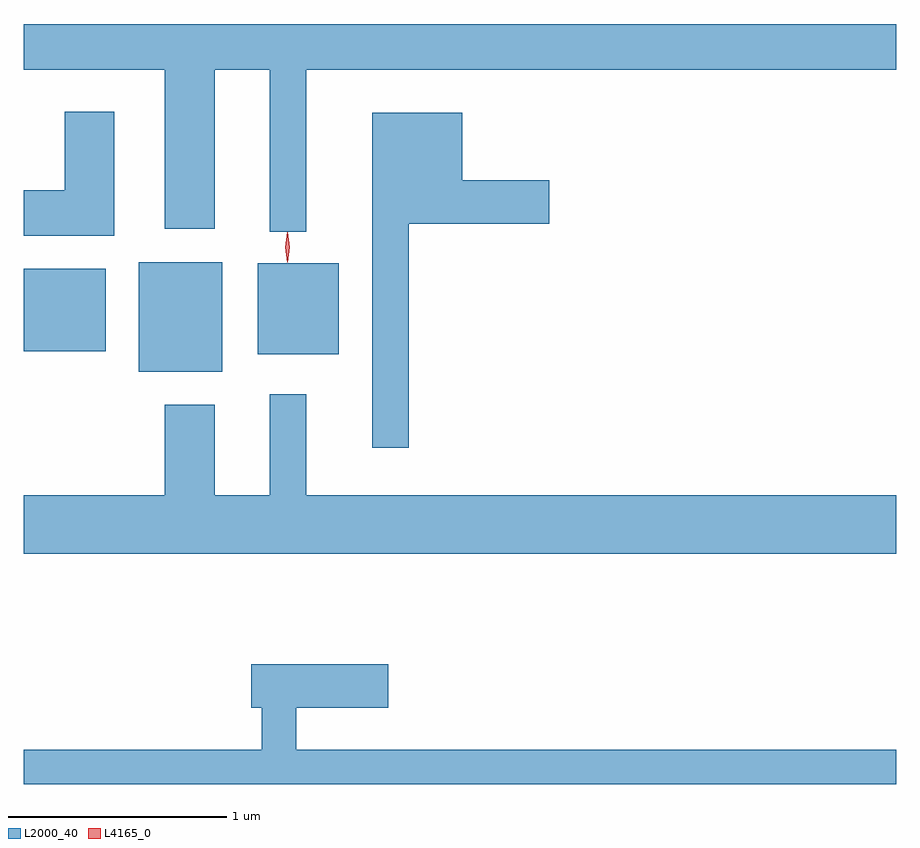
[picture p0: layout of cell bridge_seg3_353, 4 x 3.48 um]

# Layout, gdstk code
import gdstk
lib = gdstk.Library(unit=1e-6, precision=1e-09)
def R(c, l, rs):  # rectangles x0, y0, x1, y1
    for r in rs: c.add(gdstk.rectangle(r[:2], r[2:], *l))
def P(c, l, *ps):  # polygons
    for p in ps: c.add(gdstk.Polygon(p, *l))
L2000_40 = (2000, 40)
L4165_0 = (4165, 0)

bridge_seg3_353 = lib.new_cell('bridge_seg3_353')
R(bridge_seg3_353, L2000_40, [(666.151,1228.971,666.534,1229.474), (666.696,1229.051,667.069,1229.469), (665.624,1229.066,665.999,1229.444)])
P(bridge_seg3_353, L2000_40, [(666.919,1230.356),(669.624,1230.356),(669.624,1230.566),(665.624,1230.566),(665.624,1230.356),(666.271,1230.356),(666.271,1229.626),(666.499,1229.626),(666.499,1230.356),(666.751,1230.356),(666.751,1229.613),(666.919,1229.613)],
  [(666.039,1230.164),(665.811,1230.164),(665.811,1229.804),(665.624,1229.804),(665.624,1229.596),(666.039,1229.596)],
  [(667.389,1229.651),(668.034,1229.651),(668.034,1229.849),(667.634,1229.849),(667.634,1230.159),(667.221,1230.159),(667.221,1228.623),(667.389,1228.623)],
  [(669.624,1228.404),(666.919,1228.404),(666.919,1228.868),(666.751,1228.868),(666.751,1228.404),(666.499,1228.404),(666.499,1228.819),(666.271,1228.819),(666.271,1228.404),(665.624,1228.404),(665.624,1228.136),(669.624,1228.136)],
  [(669.624,1227.239),(666.874,1227.239),(666.874,1227.431),(667.294,1227.431),(667.294,1227.629),(666.666,1227.629),(666.666,1227.431),(666.716,1227.431),(666.716,1227.239),(665.624,1227.239),(665.624,1227.081),(669.624,1227.081)])
P(bridge_seg3_353, L4165_0, [(666.832,1229.474),(666.823,1229.542),(666.832,1229.61),(666.833,1229.61),(666.833,1229.61),(666.843,1229.542),(666.833,1229.474),(666.833,1229.474)],
  [(666.832,1229.478),(666.823,1229.542),(666.832,1229.607),(666.833,1229.607),(666.833,1229.607),(666.843,1229.542),(666.833,1229.478),(666.833,1229.478)])

lib.write_gds('bridge_seg3_353.gds')
